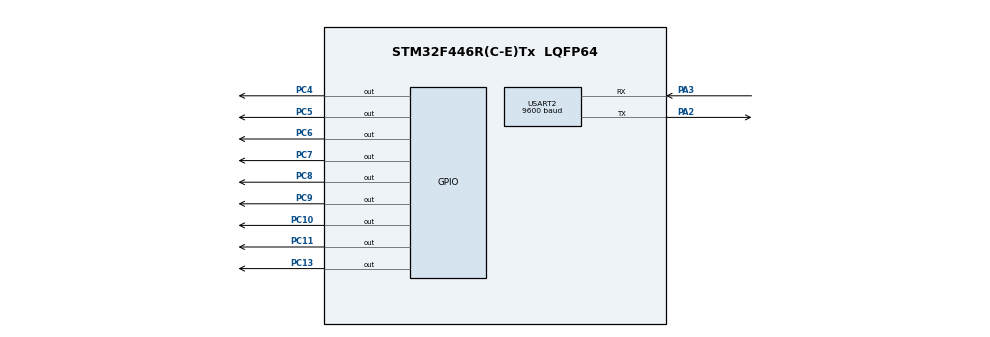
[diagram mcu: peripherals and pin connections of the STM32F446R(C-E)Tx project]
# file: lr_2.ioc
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Mcu.Family=STM32F4
Mcu.Name=STM32F446R(C-E)Tx
Mcu.Package=LQFP64
NVIC.PriorityGroup=NVIC_PRIORITYGROUP_4
PA2.Mode=Asynchronous
PA2.Signal=USART2_TX
PA3.Mode=Asynchronous
PA3.Signal=USART2_RX
PC10.Signal=GPIO_Output
PC11.Signal=GPIO_Output
PC13.Signal=GPIO_Output
PC4.Signal=GPIO_Output
PC5.Signal=GPIO_Output
PC6.Signal=GPIO_Output
PC7.Signal=GPIO_Output
PC8.Signal=GPIO_Output
PC9.Signal=GPIO_Output
ProjectManager.HeapSize=0x200
ProjectManager.StackSize=0x400
ProjectManager.TargetToolchain=STM32CubeIDE
RCC.CortexFreq_Value=16000000
RCC.USBFreq_Value=96000000
RCC.VCOOutputFreq_Value=192000000
USART2.BaudRate=9600
USART2.VirtualMode=VM_ASYNC
board=custom

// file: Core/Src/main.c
/* USER CODE BEGIN Header */
/**
  ******************************************************************************
  * @file           : main.c
  * @brief          : Main program body
  ******************************************************************************
  * @attention
  *
  * Copyright (c) 2024 STMicroelectronics.
  * All rights reserved.
  *
  * This software is licensed under terms that can be found in the LICENSE file
  * in the root directory of this software component.
  * If no LICENSE file comes with this software, it is provided AS-IS.
  *
  ******************************************************************************
  */
/* USER CODE END Header */
#include "main.h"

UART_HandleTypeDef huart2;

const uint16_t led_pins[] = {
  GPIO_PIN_4, GPIO_PIN_5, GPIO_PIN_6, GPIO_PIN_7,
  GPIO_PIN_8, GPIO_PIN_9, GPIO_PIN_10, GPIO_PIN_11
};

#define START_BYTE  0xAA
#define END_BYTE    0xBB

#define CMD_PING    0x01  // Проверка связи
#define CMD_LED_ON  0x02  // Включить все светодиоды
#define CMD_LED_OFF 0x03  // Выключить все светодиоды
#define CMD_SET_LED 0x04  // Включить набор светодиодов
#define CMD_GET_LED 0x05  // Запрос состояния светодиодов

uint8_t rx_buffer[4];  // Буфер для приема пакета
uint8_t led_status[8] = {0};

void SystemClock_Config(void);
static void MX_GPIO_Init(void);
static void MX_USART2_UART_Init(void);
/* USER CODE BEGIN PFP */
void HAL_UART_RxCpltCallback(UART_HandleTypeDef *huart);
/* USER CODE END PFP */

int main(void)
{

  /* MCU Configuration--------------------------------------------------------*/

  /* Reset of all peripherals, Initializes the Flash interface and the Systick. */
  HAL_Init();

  /* USER CODE BEGIN Init */
  __enable_irq();
  /* USER CODE END Init */

  /* Configure the system clock */
  SystemClock_Config();

  /* Initialize all configured peripherals */
  MX_GPIO_Init();
  MX_USART2_UART_Init();
  /* USER CODE BEGIN 2 */
  HAL_UART_Receive_IT(&huart2, rx_buffer, sizeof(rx_buffer));
  /* USER CODE END 2 */

  /* Infinite loop */
  while (1)
  {

  }
}

void SystemClock_Config(void)
{
  RCC_OscInitTypeDef RCC_OscInitStruct = {0};
  RCC_ClkInitTypeDef RCC_ClkInitStruct = {0};

  /** Configure the main internal regulator output voltage
  */
  __HAL_RCC_PWR_CLK_ENABLE();
  __HAL_PWR_VOLTAGESCALING_CONFIG(PWR_REGULATOR_VOLTAGE_SCALE3);

  /** Initializes the RCC Oscillators according to the specified parameters
  * in the RCC_OscInitTypeDef structure.
  */
  RCC_OscInitStruct.OscillatorType = RCC_OSCILLATORTYPE_HSI;
  RCC_OscInitStruct.HSIState = RCC_HSI_ON;
  RCC_OscInitStruct.HSICalibrationValue = RCC_HSICALIBRATION_DEFAULT;
  RCC_OscInitStruct.PLL.PLLState = RCC_PLL_NONE;
  if (HAL_RCC_OscConfig(&RCC_OscInitStruct) != HAL_OK)
  {
    Error_Handler();
  }

  /** Initializes the CPU, AHB and APB buses clocks
  */
  RCC_ClkInitStruct.ClockType = RCC_CLOCKTYPE_HCLK|RCC_CLOCKTYPE_SYSCLK
                              |RCC_CLOCKTYPE_PCLK1|RCC_CLOCKTYPE_PCLK2;
  RCC_ClkInitStruct.SYSCLKSource = RCC_SYSCLKSOURCE_HSI;
  RCC_ClkInitStruct.AHBCLKDivider = RCC_SYSCLK_DIV1;
  RCC_ClkInitStruct.APB1CLKDivider = RCC_HCLK_DIV1;
  RCC_ClkInitStruct.APB2CLKDivider = RCC_HCLK_DIV1;

  if (HAL_RCC_ClockConfig(&RCC_ClkInitStruct, FLASH_LATENCY_0) != HAL_OK)
  {
    Error_Handler();
  }
}

static void MX_USART2_UART_Init(void)
{

  huart2.Instance = USART2;
  huart2.Init.BaudRate = 9600;
  huart2.Init.WordLength = UART_WORDLENGTH_8B;
  huart2.Init.StopBits = UART_STOPBITS_1;
  huart2.Init.Parity = UART_PARITY_NONE;
  huart2.Init.Mode = UART_MODE_TX_RX;
  huart2.Init.HwFlowCtl = UART_HWCONTROL_NONE;
  huart2.Init.OverSampling = UART_OVERSAMPLING_16;
  if (HAL_UART_Init(&huart2) != HAL_OK)
  {
    Error_Handler();
  }

}

static void MX_GPIO_Init(void)
{
  GPIO_InitTypeDef GPIO_InitStruct = {0};

  /* GPIO Ports Clock Enable */
  __HAL_RCC_GPIOC_CLK_ENABLE();
  __HAL_RCC_GPIOA_CLK_ENABLE();

  /*Configure GPIO pin Output Level */
  HAL_GPIO_WritePin(GPIOC, GPIO_PIN_13|GPIO_PIN_4|GPIO_PIN_5|GPIO_PIN_6
                          |GPIO_PIN_7|GPIO_PIN_8|GPIO_PIN_9|GPIO_PIN_10
                          |GPIO_PIN_11, GPIO_PIN_RESET);

  /*Configure GPIO pins : PC13 PC4 PC5 PC6
                           PC7 PC8 PC9 PC10
                           PC11 */
  GPIO_InitStruct.Pin = GPIO_PIN_13|GPIO_PIN_4|GPIO_PIN_5|GPIO_PIN_6
                          |GPIO_PIN_7|GPIO_PIN_8|GPIO_PIN_9|GPIO_PIN_10
                          |GPIO_PIN_11;
  GPIO_InitStruct.Mode = GPIO_MODE_OUTPUT_PP;
  GPIO_InitStruct.Pull = GPIO_NOPULL;
  GPIO_InitStruct.Speed = GPIO_SPEED_FREQ_LOW;
  HAL_GPIO_Init(GPIOC, &GPIO_InitStruct);

}

/* USER CODE BEGIN 4 */
void HAL_UART_RxCpltCallback(UART_HandleTypeDef *huart) {
  if (huart->Instance == USART2)
  {
    // Debug: Toggle an LED to indicate the interrupt was triggered
    HAL_GPIO_TogglePin(GPIOC, GPIO_PIN_13);

    // Echo back received data for debugging
    HAL_UART_Transmit(&huart2, rx_buffer, sizeof(rx_buffer), HAL_MAX_DELAY);

    if (rx_buffer[0] == START_BYTE && rx_buffer[3] == END_BYTE)
    {
      uint8_t command = rx_buffer[1];

      // Handle commands
      switch (command)
      {
        case CMD_PING:
          Set_All_LEDs(1);  // Turn on all LEDs to confirm the ping
          Send_Response(CMD_PING);
          break;

        case CMD_LED_ON:
          Set_All_LEDs(1);  // Turn on all LEDs
          Send_Response(CMD_LED_ON);
          break;

        case CMD_LED_OFF:
          Set_All_LEDs(0);  // Turn off all LEDs
          Send_Response(CMD_LED_OFF);
          break;

        case CMD_SET_LED:
          Set_LEDs(rx_buffer[2]);  // Set specific LEDs based on received data
          Send_Response(CMD_SET_LED);
          break;

        case CMD_GET_LED:
          Send_LED_Status();  // Send LED status
          break;

        default:
          // Ignore unknown commands
          break;
      }
    }

    // Restart UART reception
    HAL_UART_Receive_IT(&huart2, rx_buffer, sizeof(rx_buffer));
  }
}

// Turn all LEDs on or off
void Set_All_LEDs(uint8_t state)
{
  for (int i = 0; i < 8; i++) {
    if (state) {
      HAL_GPIO_WritePin(GPIOC, led_pins[i], GPIO_PIN_SET); // Turn LED on
    } else {
      HAL_GPIO_WritePin(GPIOC, led_pins[i], GPIO_PIN_RESET); // Turn LED off
    }
  }
}

// Set LEDs based on a pattern
void Set_LEDs(uint8_t pattern)
{
  for (int i = 0; i < 8; i++)
  {
    led_status[i] = (pattern >> i) & 0x01;  // Set bit pattern for each LED
    if (led_status[i])
      HAL_GPIO_WritePin(GPIOA, GPIO_PIN_0 << i, GPIO_PIN_SET);
    else
      HAL_GPIO_WritePin(GPIOA, GPIO_PIN_0 << i, GPIO_PIN_RESET);
  }
}

// Send the status of the LEDs
void Send_LED_Status(void)
{
  uint8_t packet[4];
  packet[0] = START_BYTE;
  packet[1] = CMD_GET_LED;
  packet[2] = 0;

  for (int i = 0; i < 8; i++)
  {
    packet[2] |= (led_status[i] << i);  // Form a byte with LED status
  }

  packet[3] = END_BYTE;
  HAL_UART_Transmit(&huart2, packet, sizeof(packet), HAL_MAX_DELAY);
}

// Send a response for received commands
void Send_Response(uint8_t command)
{
  uint8_t packet[4];
  packet[0] = START_BYTE;
  packet[1] = command;  // Echo received command
  packet[2] = 0x00;     // No data
  packet[3] = END_BYTE;
  HAL_UART_Transmit(&huart2, packet, sizeof(packet), HAL_MAX_DELAY);
}
/* USER CODE END 4 */

void Error_Handler(void)
{
  __disable_irq();
  while (1)
  {
  }
}
